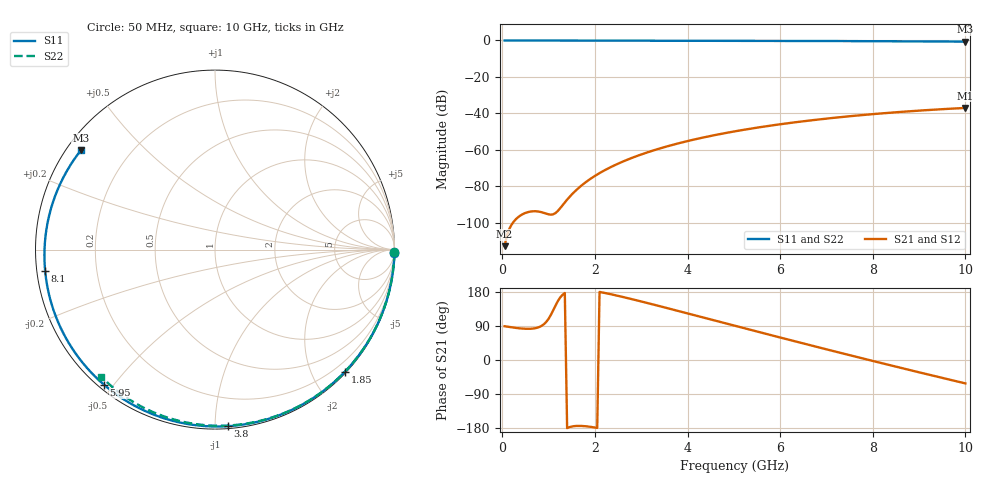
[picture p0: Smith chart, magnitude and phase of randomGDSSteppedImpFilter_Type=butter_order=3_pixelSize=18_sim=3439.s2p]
! freq	dB(S11)	phase(S11)	dB(S12)	phase(S12)
!  dB(S21)	phase(S21)	dB(S22)	phase(S22)
!S-par simulation data
#  GHz  S  DB  R 50
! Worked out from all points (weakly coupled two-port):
!   200 points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, 50 MHz to 10 GHz, reference 50 ohm
!   highest |S21| = -37.01 dB at 10 GHz (marker M1); lowest = -112.8 dB at 50 MHz (marker M2)
!   lowest |S11| = -0.6 dB at 10 GHz (marker M3), VSWR 27.52, Z = 2.01 + j16.4 ohm
!   |S11| at or under -10 dB: nowhere
!   |S22| runs from -0.4 to 0.0 dB; largest |S21 - S12| = 0
!   S11 on the Smith chart (normalised r, x): 50 MHz: 0, -95; 1.85 GHz: 0.02, -2.52; 3.8 GHz: 0.01, -1.07; 5.95 GHz: 0.02, -0.47; 8.1 GHz: 0.02, -0.06; 10 GHz: 0.04, +0.33
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0.05  -0.00 -1.2  -112.81 89.1  -112.81 89.1  -0.00 -0.8
0.8  -0.02 -19.0  -93.90 87.1  -93.90 87.1  -0.02 -12.1
1.65  -0.05 -38.7  -80.84 -173.9  -80.84 -173.9  -0.03 -24.8
1.7  -0.05 -39.9  -79.76 -174.0  -79.76 -174.0  -0.03 -25.5
1.75  -0.05 -41.0  -78.73 -174.3  -78.73 -174.3  -0.03 -26.3
1.85  -0.06 -43.3  -76.83 -175.5  -76.83 -175.5  -0.04 -27.8
2.15  -0.06 -50.1  -72.02 178.5  -72.02 178.5  -0.04 -32.2
2.5  -0.07 -57.9  -67.56 169.3  -67.56 169.3  -0.05 -37.2
2.9  -0.09 -66.7  -63.43 157.5  -63.43 157.5  -0.06 -43.0
3.4  -0.10 -77.5  -59.24 142.0  -59.24 142.0  -0.07 -50.0
3.8  -0.12 -85.9  -56.44 129.4  -56.44 129.4  -0.08 -55.6
4.4  -0.14 -98.3  -52.89 110.2  -52.89 110.2  -0.09 -63.8
5.05  -0.17 -111.5  -49.71 89.4  -49.71 89.4  -0.11 -72.4
5.95  -0.23 -129.4  -46.14 60.9  -46.14 60.9  -0.14 -84.0
6.7  -0.28 -144.3  -43.71 37.5  -43.71 37.5  -0.18 -93.3
7.4  -0.34 -158.4  -41.81 15.8  -41.81 15.8  -0.22 -101.8
8.1  -0.41 -172.9  -40.19 -5.5  -40.19 -5.5  -0.27 -110.0
8.35  -0.44 -178.2  -39.67 -13.1  -39.67 -13.1  -0.29 -113.0
8.8  -0.49 171.9  -38.82 -26.5  -38.82 -26.5  -0.33 -118.2
9.2  -0.54 162.8  -38.14 -38.4  -38.14 -38.4  -0.36 -122.7
9.6  -0.58 153.4  -37.54 -50.2  -37.54 -50.2  -0.40 -127.3
10  -0.63 143.6  -37.01 -61.8  -37.01 -61.8  -0.45 -131.8
